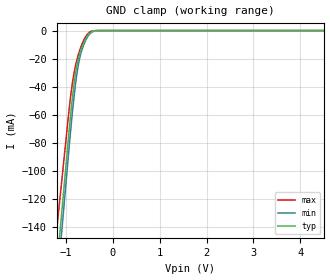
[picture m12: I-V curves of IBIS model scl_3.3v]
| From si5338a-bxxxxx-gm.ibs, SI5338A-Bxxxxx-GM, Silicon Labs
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[Model]   scl_3.3v
Model_type Input
Vinl = 990.000mV
Vinh = 2.3100V
C_comp   1.130E-12   0.741E-12   1.200E-12
[Voltage Range]   3.300E+00   2.970E+00   3.630E+00
[POWER Clamp Reference]   3.300E+00   2.970E+00   3.630E+00
[GND Clamp Reference]   0.000E+00   0.000E+00   0.000E+00
[Temperature Range]   25   85   -40
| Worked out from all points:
|   GND clamp passes 1 mA (typ) near -0.46 V on its own axis
[GND Clamp]
-3.3V     -951.3mA   -987.4mA   -826.1mA
-1.02V    -104.4mA   -117.3mA   -84.92mA
-920mV    -67.41mA   -79.19mA   -52.67mA
-880mV    -53.87mA   -64.82mA   -41.8mA
-820mV    -36.71mA   -45.37mA   -29.14mA
-760mV    -24.21mA   -29.71mA   -20.2mA
-720mV    -18.28mA   -21.92mA   -15.51mA
-660mV    -11.9mA    -13.96mA   -9.951mA
-580mV    -5.876mA   -7.121mA   -4.48mA
-480mV    -1.443mA   -2.07mA    -826.1uA
-320mV    0A         0A         0A
6.6V      0A         0A         0A
